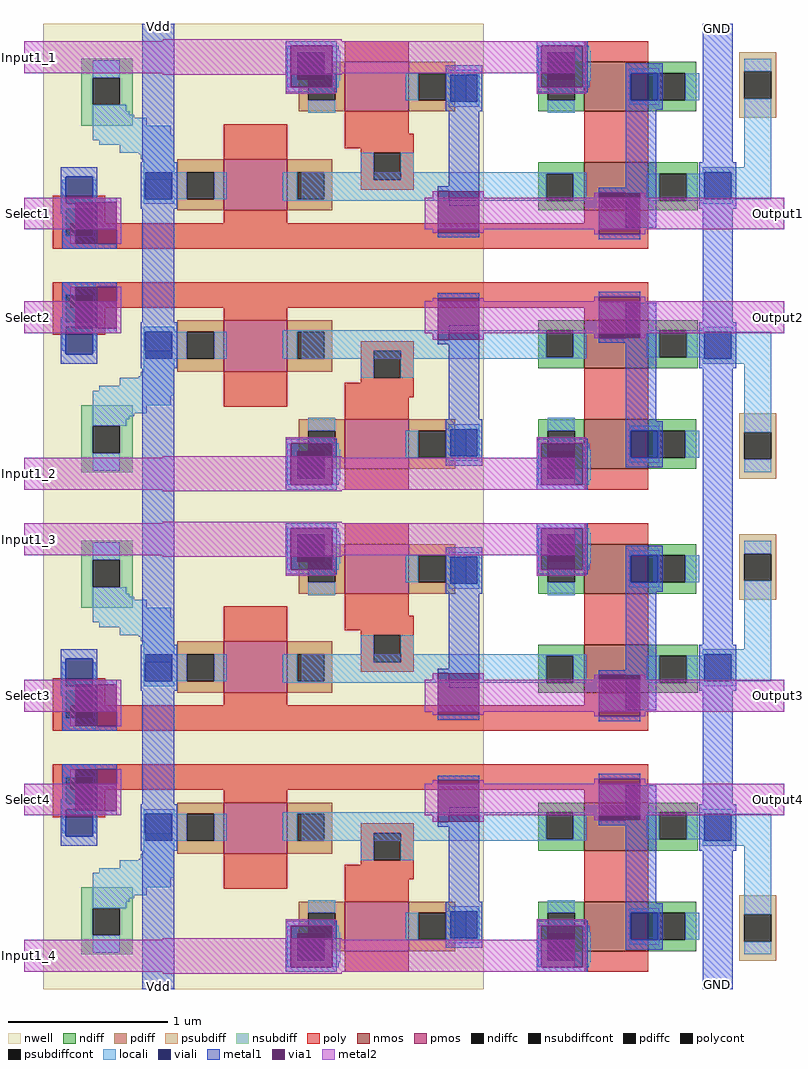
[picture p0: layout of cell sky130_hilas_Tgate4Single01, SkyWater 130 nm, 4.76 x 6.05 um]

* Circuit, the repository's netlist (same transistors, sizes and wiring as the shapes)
* Copyright 2020 The Hilas PDK Authors
* 
* This file is part of HILAS.
* 
* HILAS is free software: you can redistribute it and/or modify
* it under the terms of the GNU Lesser General Public License as published by
* the Free Software Foundation, version 3 of the License.
* 
* HILAS is distributed in the hope that it will be useful,
* but WITHOUT ANY WARRANTY; without even the implied warranty of
* MERCHANTABILITY or FITNESS FOR A PARTICULAR PURPOSE.  See the
* GNU Lesser General Public License for more details.
* 
* You should have received a copy of the GNU Lesser General Public License
* along with HILAS.  If not, see <https://www.gnu.org/licenses/>.
* 
* Licensed under the Lesser General Public License, Version 3.0 (the "License");
* you may not use this file except in compliance with the License.
* You may obtain a copy of the License at
* 
* https://www.gnu.org/licenses/lgpl-3.0.en.html
* 
* Unless required by applicable law or agreed to in writing, software
* distributed under the License is distributed on an "AS IS" BASIS,
* WITHOUT WARRANTIES OR CONDITIONS OF ANY KIND, either express or implied.
* See the License for the specific language governing permissions and
* limitations under the License.
* 
* SPDX-License-Identifier: LGPL-3.0
* 
* 

* NGSPICE file created from sky130_hilas_Tgate4Single01.ext - technology: sky130A

.subckt sky130_hilas_TgateSingle01Part1 sky130_hilas_m12m2_3/SUB a_582_n188# output
+ a_582_n314# a_514_n112#
X0 sky130_hilas_m12m2_3/SUB a_514_n112# a_582_n188# sky130_hilas_m12m2_3/SUB sky130_fd_pr__nfet_01v8 w=300000u l=400000u
X1 output a_514_n112# a_582_n314# sky130_hilas_m12m2_3/SUB sky130_fd_pr__nfet_01v8 w=310000u l=400000u
.ends

.subckt sky130_hilas_TgateSingle01Part2 a_18_n340# a_n40_n314# SUB w_n134_n362# li_n36_n176#
+ a_98_n314# a_n36_n112#
X0 a_98_n314# a_18_n340# a_n40_n314# w_n134_n362# sky130_fd_pr__pfet_01v8 w=310000u l=400000u
.ends

.subckt sky130_hilas_TgateSingle01 m2_n526_n340# a_n468_n112# SUB w_n502_n362# sky130_hilas_TgateSingle01Part1_0/output
Xsky130_hilas_TgateSingle01Part1_0 SUB a_n196_n192# sky130_hilas_TgateSingle01Part1_0/output
+ m2_n526_n340# a_n468_n112# sky130_hilas_TgateSingle01Part1
Xsky130_hilas_TgateSingle01Part2_0 a_n196_n192# m2_n526_n340# SUB w_n502_n362# a_n196_n192#
+ sky130_hilas_TgateSingle01Part1_0/output a_n468_n112# sky130_hilas_TgateSingle01Part2
X0 a_n196_n192# a_n468_n112# w_n502_n362# w_n502_n362# sky130_fd_pr__pfet_01v8 w=320000u l=400000u
.ends

.subckt sky130_hilas_Tgate4Single01 INPUT1_4 VPWR SELECT4 SELECT3 INPUT1_3 INPUT1_2
+ SELECT2 SELECT1 INPUT1_1 VGND OUTPUT1 OUTPUT2 OUTPUT3 OUTPUT4
Xsky130_hilas_TgateSingle01_0 INPUT1_1 SELECT1 VGND VPWR OUTPUT1 sky130_hilas_TgateSingle01
Xsky130_hilas_TgateSingle01_1 INPUT1_4 SELECT4 VGND VPWR OUTPUT4 sky130_hilas_TgateSingle01
Xsky130_hilas_TgateSingle01_2 INPUT1_3 SELECT3 VGND VPWR OUTPUT3 sky130_hilas_TgateSingle01
Xsky130_hilas_TgateSingle01_3 INPUT1_2 SELECT2 VGND VPWR OUTPUT2 sky130_hilas_TgateSingle01
.ends

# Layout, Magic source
magic
tech sky130A
<< metal1 >>
rect 38 460 58 464
rect 389 458 408 464
rect 38 -141 58 -137
rect 389 -141 408 -135
<< metal2 >>
rect -36 433 -31 453
rect -36 335 -30 355
rect 433 335 440 355
rect -36 270 -30 290
rect 433 270 440 290
rect -36 172 -31 192
rect -36 131 -31 151
rect -36 33 -30 53
rect 433 33 440 53
rect -36 -32 -30 -12
rect 433 -32 440 -12
rect -36 -130 -31 -110
use sky130_hilas_TgateSingle01  sky130_hilas_TgateSingle01_2
transform 1 0 227 0 -1 -19
box -263 -181 213 -29
use sky130_hilas_TgateSingle01  sky130_hilas_TgateSingle01_3
transform 1 0 227 0 1 342
box -263 -181 213 -29
use sky130_hilas_TgateSingle01  sky130_hilas_TgateSingle01_0
transform 1 0 227 0 -1 283
box -263 -181 213 -29
use sky130_hilas_TgateSingle01  sky130_hilas_TgateSingle01_1
transform 1 0 227 0 1 40
box -263 -181 213 -29
<< labels >>
rlabel metal2 -36 335 -30 355 0 Select1
port 8 nsew analog default
rlabel metal2 -36 270 -30 290 0 Select2
port 7 nsew analog default
rlabel metal2 -36 33 -30 53 0 Select3
port 4 nsew analog default
rlabel metal2 -36 -32 -30 -12 0 Select4
port 3 nsew analog default
rlabel metal1 38 -141 58 -137 0 Vdd
port 2 nsew analog default
rlabel metal2 -36 433 -31 453 0 Input1_1
port 9 nsew analog default
rlabel metal2 -36 172 -31 192 0 Input1_2
port 6 nsew analog default
rlabel metal2 -36 131 -31 151 0 Input1_3
port 5 nsew analog default
rlabel metal2 -36 -130 -31 -110 0 Input1_4
port 1 nsew analog default
rlabel metal1 389 458 408 464 0 GND
port 10 nsew ground default
rlabel metal1 389 -141 408 -135 0 GND
port 10 nsew ground default
rlabel metal2 433 335 440 355 0 Output1
port 11 nsew analog default
rlabel metal2 433 270 440 290 0 Output2
port 12 nsew analog default
rlabel metal2 433 33 440 53 0 Output3
port 13 nsew analog default
rlabel metal2 433 -32 440 -12 0 Output4
port 14 nsew analog default
rlabel metal1 38 460 58 464 0 Vdd
port 2 nsew power default
<< end >>

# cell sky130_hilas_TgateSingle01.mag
magic
tech sky130A
<< nwell >>
rect -251 -102 25 -29
rect -251 -119 -52 -102
rect -251 -181 -53 -119
<< pmos >>
rect -138 -96 -98 -64
<< pdiff >>
rect -167 -71 -138 -64
rect -167 -88 -161 -71
rect -144 -88 -138 -71
rect -167 -96 -138 -88
rect -98 -71 -70 -64
rect -98 -88 -92 -71
rect -75 -88 -70 -71
rect -98 -96 -70 -88
<< pdiffc >>
rect -161 -88 -144 -71
rect -92 -88 -75 -71
<< nsubdiff >>
rect -227 -130 -195 -117
rect -227 -147 -220 -130
rect -203 -147 -195 -130
rect -227 -159 -195 -147
<< nsubdiffcont >>
rect -220 -147 -203 -130
<< poly >>
rect -234 -56 25 -40
rect -138 -64 -98 -56
rect -52 -83 -19 -77
rect -138 -118 -98 -96
rect -52 -100 -44 -83
rect -27 -100 -19 -83
rect -52 -112 -19 -100
<< polycont >>
rect -44 -100 -27 -83
<< locali >>
rect -101 -71 25 -70
rect -171 -83 -161 -71
rect -188 -88 -161 -83
rect -144 -88 -136 -71
rect -101 -88 -92 -71
rect -75 -83 25 -71
rect -75 -88 -44 -83
rect -188 -96 -169 -88
rect -190 -99 -169 -96
rect -191 -100 -169 -99
rect -52 -100 -44 -88
rect -27 -88 25 -83
rect -27 -100 -19 -88
rect -203 -105 -169 -100
rect -216 -108 -169 -105
rect -220 -111 -169 -108
rect -220 -117 -171 -111
rect -220 -122 -186 -117
rect -220 -124 -194 -122
rect -220 -126 -197 -124
rect -220 -130 -199 -126
rect -220 -158 -203 -147
<< metal1 >>
rect -189 -181 -169 -29
<< metal2 >>
rect -263 -72 -202 -52
rect -176 -150 -64 -149
rect -263 -170 -64 -150
rect -176 -171 -64 -170
use sky130_hilas_m12m2  sky130_hilas_m12m2_0
transform 1 0 -225 0 1 -62
box -9 -10 23 22
use sky130_hilas_TgateSingle01Part2  sky130_hilas_TgateSingle01Part2_0
transform 1 0 -71 0 1 0
box -67 -181 96 -38
use sky130_hilas_TgateSingle01Part1  sky130_hilas_TgateSingle01Part1_0
transform 1 0 -232 0 1 0
box 257 -181 445 -29
use sky130_hilas_li2m1  sky130_hilas_li2m1_2
transform 1 0 -180 0 1 -86
box -10 -8 13 21
use sky130_hilas_poly2m1  sky130_hilas_poly2m1_0
transform 1 0 -236 0 1 -65
box -9 -26 24 25
<< end >>

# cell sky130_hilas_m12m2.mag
magic
tech sky130A
<< metal1 >>
rect -6 19 20 22
rect -6 -10 20 -7
<< via1 >>
rect -6 -7 20 19
<< metal2 >>
rect -9 -7 -6 19
rect 20 -7 23 19
<< end >>

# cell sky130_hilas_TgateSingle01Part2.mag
magic
tech sky130A
<< nwell >>
rect -18 -97 96 -38
rect -67 -181 96 -97
<< pmos >>
rect 9 -157 49 -126
<< pdiff >>
rect -20 -133 9 -126
rect -20 -150 -14 -133
rect 3 -150 9 -133
rect -20 -157 9 -150
rect 49 -133 78 -126
rect 49 -150 55 -133
rect 72 -150 78 -133
rect 49 -157 78 -150
<< pdiffc >>
rect -14 -150 3 -133
rect 55 -150 72 -133
<< poly >>
rect -18 -56 96 -40
rect 9 -126 49 -103
rect 9 -170 49 -157
<< locali >>
rect -18 -88 96 -70
rect -14 -133 3 -125
rect 47 -150 55 -133
rect 72 -150 85 -132
rect -14 -155 3 -150
<< metal1 >>
rect 74 -126 93 -67
rect 72 -155 95 -126
<< metal2 >>
rect 59 -72 96 -52
rect -67 -150 -45 -149
rect -67 -170 96 -150
rect -67 -171 -45 -170
use sky130_hilas_m12m2  sky130_hilas_m12m2_2
transform 1 0 73 0 1 -69
box -9 -10 23 22
use sky130_hilas_li2m2  sky130_hilas_li2m2_2
transform 1 0 -14 0 1 -155
box -14 -15 20 18
use sky130_hilas_li2m1  sky130_hilas_li2m1_3
transform 1 0 82 0 1 -147
box -10 -8 13 21
<< end >>

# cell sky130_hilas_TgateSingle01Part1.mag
magic
tech sky130A
<< nmos >>
rect 320 -94 360 -64
rect 320 -157 360 -126
<< ndiff >>
rect 291 -70 320 -64
rect 291 -87 296 -70
rect 313 -87 320 -70
rect 291 -94 320 -87
rect 360 -70 391 -64
rect 360 -87 367 -70
rect 384 -87 391 -70
rect 360 -94 391 -87
rect 291 -133 320 -126
rect 291 -150 297 -133
rect 314 -150 320 -133
rect 291 -157 320 -150
rect 360 -133 390 -126
rect 360 -150 366 -133
rect 383 -150 390 -133
rect 360 -157 390 -150
<< ndiffc >>
rect 296 -87 313 -70
rect 367 -87 384 -70
rect 297 -150 314 -133
rect 366 -150 383 -133
<< psubdiff >>
rect 417 -134 440 -122
rect 417 -151 420 -134
rect 437 -151 440 -134
rect 417 -163 440 -151
<< psubdiffcont >>
rect 420 -151 437 -134
<< poly >>
rect 257 -56 360 -40
rect 320 -64 360 -56
rect 320 -126 360 -94
rect 320 -170 360 -157
<< locali >>
rect 257 -87 296 -70
rect 313 -87 321 -70
rect 359 -87 367 -70
rect 384 -87 394 -70
rect 257 -88 321 -87
rect 412 -91 437 -71
rect 297 -133 314 -125
rect 363 -150 366 -133
rect 383 -150 392 -133
rect 420 -134 437 -91
rect 297 -155 314 -150
rect 420 -159 437 -151
<< metal1 >>
rect 346 -128 365 -53
rect 394 -181 413 -29
<< metal2 >>
rect 257 -72 445 -52
rect 257 -170 314 -150
use sky130_hilas_m12m2  sky130_hilas_m12m2_3
transform 1 0 335 0 1 -68
box -9 -10 23 22
use sky130_hilas_li2m1  sky130_hilas_li2m1_1
transform 1 0 402 0 1 -86
box -10 -8 13 21
use sky130_hilas_li2m1  sky130_hilas_li2m1_5
transform 1 0 356 0 1 -148
box -10 -8 13 21
use sky130_hilas_li2m2  sky130_hilas_li2m2_3
transform 1 0 304 0 1 -155
box -14 -15 20 18
<< labels >>
rlabel metal2 439 -72 445 -52 0 output
<< end >>

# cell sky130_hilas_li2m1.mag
magic
tech sky130A
<< locali >>
rect -8 15 11 18
rect -8 -2 -7 15
rect 10 -2 11 15
rect -8 -5 11 -2
<< viali >>
rect -7 -2 10 15
<< metal1 >>
rect -10 15 13 21
rect -10 -2 -7 15
rect 10 -2 13 15
rect -10 -8 13 -2
<< end >>

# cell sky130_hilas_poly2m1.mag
magic
tech sky130A
<< poly >>
rect -9 17 24 25
rect -9 0 -1 17
rect 16 0 24 17
rect -9 -8 24 0
<< polycont >>
rect -1 0 16 17
<< locali >>
rect -3 17 18 25
rect -3 0 -1 17
rect 16 0 18 17
rect -3 -3 18 0
rect -3 -18 -1 -3
rect 16 -18 18 -3
<< viali >>
rect -1 -20 16 -3
<< metal1 >>
rect -3 3 19 25
rect -4 -3 19 3
rect -4 -20 -1 -3
rect 16 -20 19 -3
rect -4 -26 19 -20
<< end >>

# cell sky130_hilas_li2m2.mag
magic
tech sky130A
<< locali >>
rect -13 10 19 14
rect -13 9 20 10
rect -13 -8 -7 9
rect 10 -8 20 9
rect -13 -9 20 -8
rect -13 -12 19 -9
<< viali >>
rect -7 -8 10 9
<< metal1 >>
rect -14 14 18 17
rect -14 -12 -11 14
rect 15 -12 18 14
rect -14 -15 18 -12
<< via1 >>
rect -11 9 15 14
rect -11 -8 -7 9
rect -7 -8 10 9
rect 10 -8 15 9
rect -11 -12 15 -8
<< metal2 >>
rect -14 14 17 18
rect -14 -12 -11 14
rect 15 -12 17 14
rect -14 -15 17 -12
<< end >>
